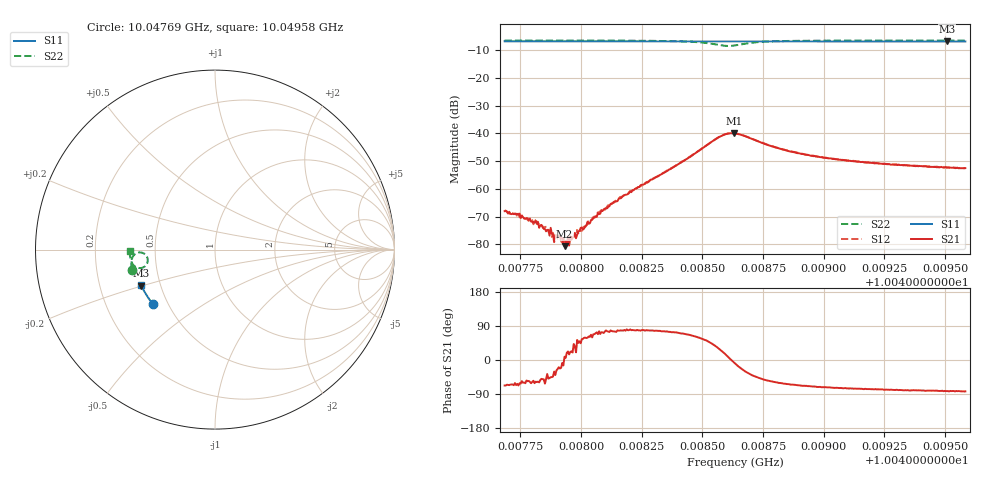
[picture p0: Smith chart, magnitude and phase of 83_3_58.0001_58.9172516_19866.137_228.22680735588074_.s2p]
#  HZ  S  RI  R  50.00
! Rohde & Schwarz Vector Network Analyzer
! Rohde-Schwarz,ZNB20-2Port,1311601062101988,3.16
! Created: UTC 3/21/2024, 12:53:59 AM
! freq[Hz]  re:S11  im:S11  re:S21  im:S21  re:S12  im:S12  re:S22  im:S22
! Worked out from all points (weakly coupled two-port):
!   401 points, 10.04769 GHz to 10.04958 GHz, reference 50 ohm
!   highest |S21| = -39.94 dB at 10.04863 GHz (marker M1); lowest = -80.7 dB at 10.04793 GHz (marker M2)
!   lowest |S11| = -6.8 dB at 10.04951 GHz (marker M3), VSWR 2.68, Z = 19.5 - j9.88 ohm
!   |S11| at or under -10 dB: nowhere
!   |S22| runs from -8.4 to -6.4 dB; largest |S21 - S12| = 0.00071
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1.0047686e10  -0.3466 -0.3023  0.000153 -0.000365  0.000195 -0.000358  -0.4622 -0.1137
1.0047738e10  -0.3488 -0.2994  0.000161 -0.000314  0.000158 -0.000269  -0.4629 -0.1099
1.0047819e10  -0.3521 -0.2954  0.000122 -0.000198  0.000161 -0.000201  -0.464 -0.1036
1.0047861e10  -0.3539 -0.2931  0.000145 -0.00011  0.00015 -0.000141  -0.4646 -0.1002
1.0047871e10  -0.3544 -0.2925  9.61e-05 -0.000106  0.000133 -0.000118  -0.4648 -0.0995
1.004789e10  -0.355 -0.2916  9.38e-05 -5.52e-05  0.000114 -6.28e-05  -0.4649 -0.0979
1.0047914e10  -0.3561 -0.2903  0.000131 -5.36e-05  0.000132 -4.46e-05  -0.465 -0.096
1.0047933e10  -0.3569 -0.2892  9.11e-05 1.39e-05  0.000111 -4.66e-06  -0.4654 -0.0944
1.004797e10  -0.3584 -0.2873  0.000103 9.38e-05  8.82e-05 0.000102  -0.4657 -0.0912
1.0048004e10  -0.3596 -0.2855  0.000115 0.000164  8.16e-05 0.000154  -0.466 -0.0884
1.0048075e10  -0.3625 -0.2816  8.54e-05 0.000339  7.48e-05 0.000365  -0.4664 -0.0818
1.004817e10  -0.3662 -0.2766  0.000152 0.000699  9.22e-05 0.000712  -0.4666 -0.0724
1.0048322e10  -0.372 -0.2683  0.000388 0.00168  0.000278 0.00174  -0.464 -0.0534
1.0048473e10  -0.3774 -0.2595  0.00211 0.00393  0.00189 0.00408  -0.4451 -0.0245
1.0048568e10  -0.3802 -0.2542  0.00744 0.00428  0.00717 0.00472  -0.394 -0.0229
1.004863e10  -0.382 -0.2512  0.01 -0.00116  0.0101 -0.000456  -0.3774 -0.075
1.0048635e10  -0.3821 -0.251  0.00983 -0.00163  0.01 -0.000943  -0.3793 -0.079
1.0048824e10  -0.3893 -0.2407  0.00254 -0.00458  0.00283 -0.00443  -0.4559 -0.085
1.0048952e10  -0.3936 -0.2332  0.00136 -0.00369  0.00158 -0.00365  -0.4664 -0.0664
1.004927e10  -0.4035 -0.2147  0.000544 -0.00274  0.000697 -0.00272  -0.4736 -0.0347
1.0049507e10  -0.4101 -0.2005  0.000337 -0.00237  0.000495 -0.00238  -0.4749 -0.016
1.0049583e10  -0.4123 -0.196  0.000297 -0.00234  0.000426 -0.00232  -0.4749 -0.0102
